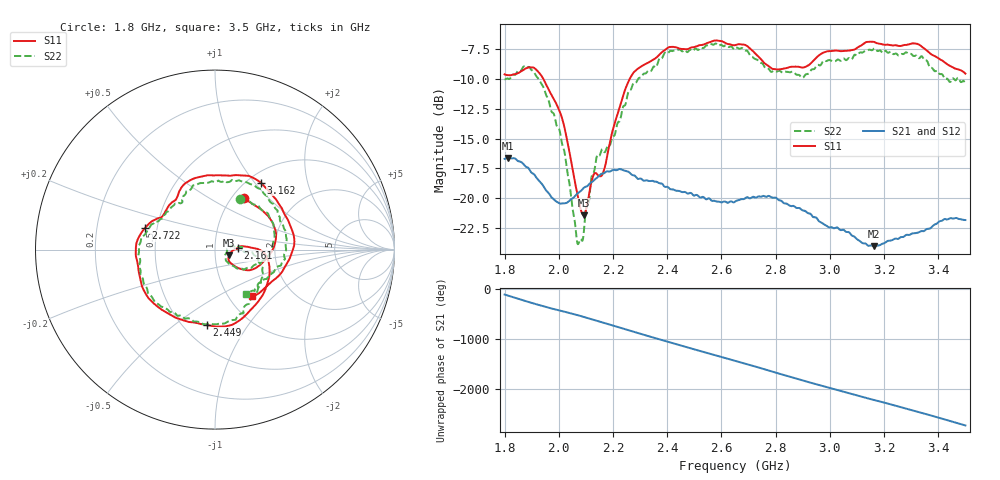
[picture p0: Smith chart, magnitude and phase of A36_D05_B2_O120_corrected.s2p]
! Created with skrf 1.9.0 (http://scikit-rf.org).
# Hz S RI R 50.0
!freq ReS11 ImS11 ReS21 ImS21 ReS12 ImS12 ReS22 ImS22
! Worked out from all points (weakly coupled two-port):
!   1601 points, 1.8 GHz to 3.5 GHz, reference 50 ohm
!   highest |S21| = -16.62 dB at 1.812 GHz (marker M1); lowest = -24.0 dB at 3.163 GHz (marker M2)
!   lowest |S11| = -21.5 dB at 2.091 GHz (marker M3), VSWR 1.18, Z = 58.3 - j3.84 ohm
!   |S11| at or under -10 dB: 1.943 GHz to 2.261 GHz (318.5 MHz wide, 15.1 % of centre)
!   |S22| runs from -23.9 to -7.0 dB; largest |S21 - S12| = 0.0026
!   S11 on the Smith chart (normalised r, x): 1.8 GHz: 1.13, +0.73; 2.161 GHz: 1.29, +0.03; 2.449 GHz: 0.65, -0.66; 2.722 GHz: 0.43, +0.13; 3.162 GHz: 1.15, +1.08; 3.5 GHz: 1.28, -0.75
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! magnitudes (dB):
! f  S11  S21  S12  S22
! 1.8 GHz  -9.6  -16.7  -16.7  -10.0
! 1.812 GHz  -9.7  -16.6  -16.6  -10.0
! 1.886 GHz  -9.1  -17.4  -17.5  -9.0
! 1.941 GHz  -9.9  -18.9  -18.9  -10.6
! 2.013 GHz  -13.3  -20.4  -20.4  -15.5
! 2.066 GHz  -19.3  -19.7  -19.7  -23.4
! 2.084 GHz  -21.2  -19.3  -19.3  -23.5
! 2.091 GHz  -21.5  -19.2  -19.2  -23.1
! 2.126 GHz  -18.2  -18.6  -18.6  -17.9
! 2.161 GHz  -18.0  -17.9  -17.9  -15.9
! 2.259 GHz  -10.1  -17.8  -17.8  -11.0
! 2.367 GHz  -8.1  -18.7  -18.7  -8.5
! 2.449 GHz  -7.5  -19.4  -19.4  -7.6
! 2.65 GHz  -7.2  -20.3  -20.3  -7.5
! 2.722 GHz  -7.8  -19.9  -19.9  -8.3
! 2.796 GHz  -9.2  -20.0  -19.9  -9.3
! 2.934 GHz  -8.6  -21.5  -21.4  -9.2
! 3.162 GHz  -6.9  -24.0  -24.0  -7.5
! 3.163 GHz  -6.9  -24.0  -24.0  -7.4
! 3.217 GHz  -7.1  -23.6  -23.5  -7.8
! 3.324 GHz  -7.1  -22.9  -22.9  -8.2
! 3.5 GHz  -9.6  -21.8  -21.8  -10.4
